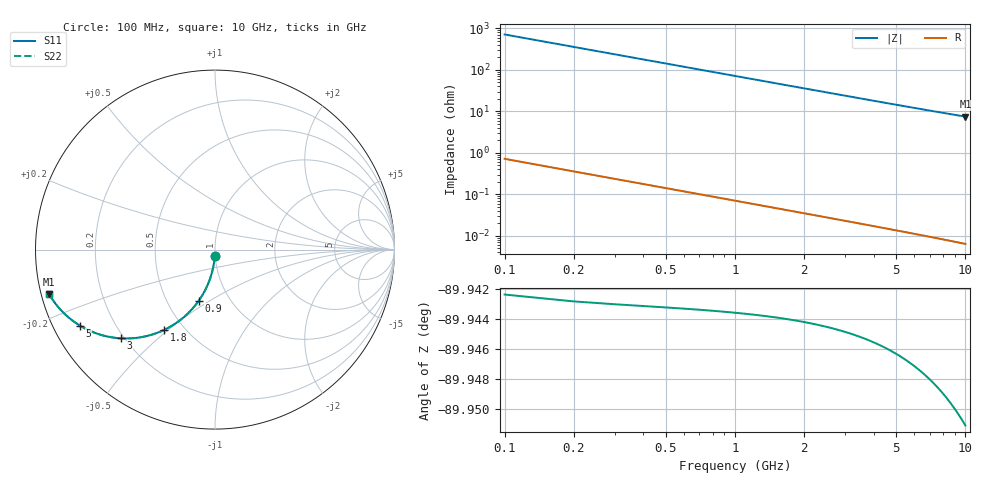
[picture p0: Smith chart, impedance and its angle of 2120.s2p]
# Hz S RI R 50.00
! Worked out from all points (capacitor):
!   100 points, 100 MHz to 10 GHz, reference 50 ohm
!   read as one part in shunt: C = 2.23 pF near 100 MHz
!   lowest |Z| = 7.49 ohm at 10 GHz (marker M1)
!   S11 on the Smith chart (normalised r, x): 100 MHz: 1.00, -0.07; 900 MHz: 0.72, -0.45; 1.8 GHz: 0.39, -0.48; 3 GHz: 0.19, -0.39; 5 GHz: 0.08, -0.26; 10 GHz: 0.02, -0.13
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1e8  -0.00122 -0.0348  0.9987 -0.0351  0.9987 -0.0351  -0.00122 -0.0348
2e8  -0.0049 -0.0693  0.995 -0.0699  0.995 -0.0699  -0.0049 -0.0693
3e8  -0.0109 -0.1033  0.989 -0.1042  0.989 -0.1042  -0.0109 -0.1033
4e8  -0.0193 -0.1366  0.9806 -0.1377  0.9806 -0.1377  -0.0193 -0.1366
5e8  -0.0298 -0.1688  0.9701 -0.1703  0.9701 -0.1703  -0.0298 -0.1688
6e8  -0.0423 -0.2  0.9576 -0.2018  0.9576 -0.2018  -0.0423 -0.2
7e8  -0.0567 -0.2298  0.9432 -0.2319  0.9432 -0.2319  -0.0567 -0.2298
9e8  -0.0903 -0.2848  0.9096 -0.2875  0.9096 -0.2875  -0.0903 -0.2848
1.1e9  -0.129 -0.3331  0.8709 -0.3364  0.8709 -0.3364  -0.129 -0.3331
1.3e9  -0.1714 -0.3744  0.8286 -0.3783  0.8286 -0.3783  -0.1714 -0.3744
1.5e9  -0.2158 -0.4087  0.7841 -0.4132  0.7841 -0.4132  -0.2158 -0.4087
1.8e9  -0.2837 -0.4476  0.7162 -0.453  0.7162 -0.453  -0.2837 -0.4476
2.3e9  -0.3925 -0.4844  0.6074 -0.4913  0.6074 -0.4913  -0.3925 -0.4844
3e9  -0.5234 -0.4944  0.4764 -0.5035  0.4764 -0.5035  -0.5234 -0.4944
3.4e9  -0.5851 -0.487  0.4147 -0.4973  0.4147 -0.4973  -0.5851 -0.487
4.2e9  -0.6827 -0.4585  0.3171 -0.4713  0.3171 -0.4713  -0.6827 -0.4585
5e9  -0.7531 -0.423  0.2467 -0.4383  0.2467 -0.4383  -0.7531 -0.423
5.1e9  -0.7604 -0.4185  0.2394 -0.4341  0.2394 -0.4341  -0.7604 -0.4185
5.9e9  -0.8095 -0.383  0.1902 -0.4011  0.1902 -0.4011  -0.8095 -0.383
6.7e9  -0.8458 -0.3501  0.1539 -0.3708  0.1539 -0.3708  -0.8458 -0.3501
8.4e9  -0.8965 -0.2907  0.1031 -0.317  0.1031 -0.317  -0.8965 -0.2907
1e10  -0.925 -0.2466  0.0744 -0.2782  0.0744 -0.2782  -0.925 -0.2466
